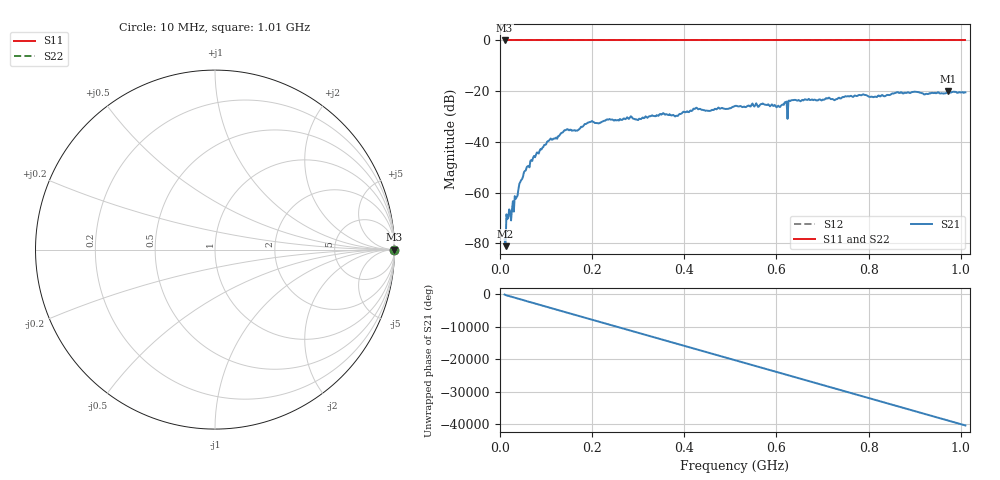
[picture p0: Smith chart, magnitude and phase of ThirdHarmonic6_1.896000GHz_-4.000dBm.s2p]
! 8/16/2025 10:53:12 PM
! C:\ANRITSUVNA\TEMP\TEMP.S2P
! CHANNEL.1
! TR.MEASUREMENT
! RAW.DATA
! RF.CORRECTION.OFF
! AVERAGING.OFF
! IF.BANDWIDTH: 5KHZ
! SWEEPTYPE:  FREQ.SWEEP(Linear)
! Reference Plane Port Info
! PORT:  PORT1  PORT2
! DISTANCE:  0  m  0  m
! TIME:  0  s  0  s
! PHASE.OFFSET:  0  deg.  0  deg.
! LOSS:  0  dB  0  dB
! REF.LOSS:  0  dB  0  dB
! REF.FREQ:  0  Hz  0  Hz
! Power Info
! POWER:  -20  dBm  -20  dBm
! EFF.POWER:  -20  dBm  -20  dBm
! SOURCE.ATTEN:  0  dB  0  dB
! TEST.ATTEN:  0  dB  0  dB
# GHZ S RI R 50.0
! FREQ.GHZ  S11RE  S11IM  S21RE  S21IM  S12RE  S12IM  S22RE  S22IM
!; PortSelection: Port_12
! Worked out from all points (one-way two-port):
!   501 points, 10 MHz to 1.01 GHz, reference 50 ohm
!   highest |S21| = -20.10 dB at 972 MHz (marker M1); lowest = -81.1 dB at 12 MHz (marker M2)
!   lowest |S11| = 0.0 dB at 10 MHz (marker M3)
!   |S11| at or under -10 dB: nowhere
!   |S22| runs from 0.0 to 0.0 dB; largest |S21 - S12| = 1.1
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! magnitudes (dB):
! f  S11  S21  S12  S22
! 10 MHz  0.0  -78.5  0.0  0.0
! 12 MHz  0.0  -81.1  0.0  0.0
! 18 MHz  0.0  -69.6  0.0  0.0
! 26 MHz  0.0  -66.7  0.0  0.0
! 46 MHz  0.0  -55.0  0.0  0.0
! 70 MHz  0.0  -47.5  0.0  0.0
! 106 MHz  0.0  -39.5  0.0  0.0
! 142 MHz  0.0  -35.4  0.0  0.0
! 178 MHz  0.0  -34.0  0.0  0.0
! 196 MHz  0.0  -32.1  0.0  0.0
! 344 MHz  0.0  -29.7  0.0  0.0
! 382 MHz  0.0  -29.7  0.0  0.0
! 424 MHz  0.0  -26.9  0.0  0.0
! 454 MHz  0.0  -27.8  0.0  0.0
! 510 MHz  0.0  -25.8  0.0  0.0
! 604 MHz  0.0  -25.7  0.0  0.0
! 628 MHz  0.0  -23.7  0.0  0.0
! 630 MHz  0.0  -23.9  0.0  0.0
! 678 MHz  0.0  -23.3  0.0  0.0
! 844 MHz  0.0  -21.5  0.0  0.0
! 972 MHz  0.0  -20.1  0.0  0.0
! 1.01 GHz  0.0  -20.5  0.0  0.0
